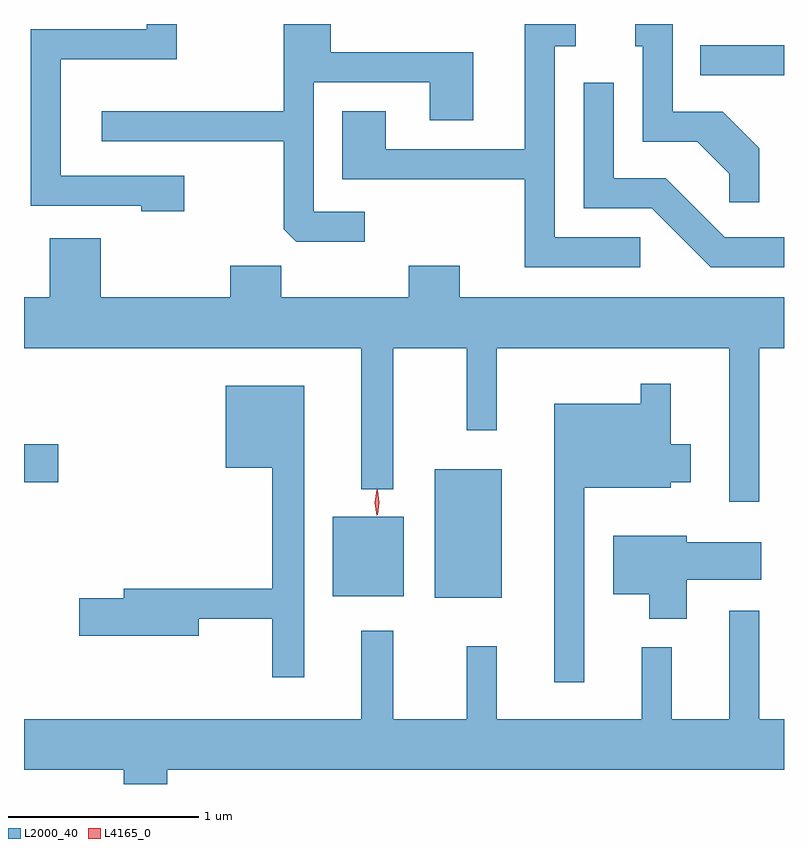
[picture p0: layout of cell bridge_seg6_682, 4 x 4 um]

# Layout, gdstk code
import gdstk
lib = gdstk.Library(unit=1e-6, precision=1e-09)
def R(c, l, rs):  # rectangles x0, y0, x1, y1
    for r in rs: c.add(gdstk.rectangle(r[:2], r[2:], *l))
def P(c, l, *ps):  # polygons
    for p in ps: c.add(gdstk.Polygon(p, *l))
L2000_40 = (2000, 40)
L4165_0 = (4165, 0)

bridge_seg6_682 = lib.new_cell('bridge_seg6_682')
R(bridge_seg6_682, L2000_40, [(240.076,1535.401,240.429,1536.079), (239.541,1535.411,239.914,1535.829), (237.915,1536.011,238.094,1536.209), (241.473,1538.151,241.915,1538.309)])
P(bridge_seg6_682, L2000_40, [(241.784,1537.767),(241.592,1537.959),(241.329,1537.959),(241.329,1538.422),(241.131,1538.422),(241.131,1538.306),(241.171,1538.306),(241.171,1537.801),(241.459,1537.801),(241.626,1537.634),(241.626,1537.483),(241.784,1537.483)],
  [(241.158,1537.299),(240.709,1537.299),(240.709,1538.306),(240.819,1538.306),(240.819,1538.422),(240.551,1538.422),(240.551,1537.764),(239.819,1537.764),(239.819,1537.964),(239.591,1537.964),(239.591,1537.606),(240.551,1537.606),(240.551,1537.141),(241.158,1537.141)],
  [(239.708,1537.434),(239.439,1537.434),(239.439,1538.116),(240.051,1538.116),(240.051,1537.916),(240.279,1537.916),(240.279,1538.274),(239.529,1538.274),(239.529,1538.422),(239.281,1538.422),(239.281,1537.964),(238.323,1537.964),(238.323,1537.806),(239.281,1537.806),(239.281,1537.342),(239.347,1537.276),(239.708,1537.276)],
  [(238.759,1537.624),(238.109,1537.624),(238.109,1538.236),(238.719,1538.236),(238.719,1538.422),(238.561,1538.422),(238.561,1538.394),(237.951,1538.394),(237.951,1537.466),(238.531,1537.466),(238.531,1537.436),(238.759,1537.436)],
  [(241.915,1537.299),(241.602,1537.299),(241.292,1537.609),(241.019,1537.609),(241.019,1538.113),(240.861,1538.113),(240.861,1537.451),(241.219,1537.451),(241.529,1537.141),(241.915,1537.141)],
  [(241.784,1536.716),(241.915,1536.716),(241.915,1536.984),(240.209,1536.984),(240.209,1537.149),(239.941,1537.149),(239.941,1536.984),(239.269,1536.984),(239.269,1537.149),(239.001,1537.149),(239.001,1536.984),(238.319,1536.984),(238.319,1537.294),(238.051,1537.294),(238.051,1536.984),(237.915,1536.984),(237.915,1536.716),(239.691,1536.716),(239.691,1535.973),(239.859,1535.973),(239.859,1536.716),(240.246,1536.716),(240.246,1536.283),(240.404,1536.283),(240.404,1536.716),(241.626,1536.716),(241.626,1535.908),(241.784,1535.908)],
  [(240.864,1535.981),(241.319,1535.981),(241.319,1536.011),(241.424,1536.011),(241.424,1536.209),(241.319,1536.209),(241.319,1536.528),(241.161,1536.528),(241.161,1536.424),(240.706,1536.424),(240.706,1534.958),(240.864,1534.958)],
  [(239.389,1536.519),(238.976,1536.519),(238.976,1536.086),(239.221,1536.086),(239.221,1535.449),(238.441,1535.449),(238.441,1535.399),(238.206,1535.399),(238.206,1535.201),(238.834,1535.201),(238.834,1535.291),(239.221,1535.291),(239.221,1534.983),(239.389,1534.983)],
  [(241.404,1535.496),(241.794,1535.496),(241.794,1535.694),(241.404,1535.694),(241.404,1535.729),(241.016,1535.729),(241.016,1535.421),(241.206,1535.421),(241.206,1535.291),(241.404,1535.291)],
  [(238.669,1534.496),(241.915,1534.496),(241.915,1534.764),(241.784,1534.764),(241.784,1535.333),(241.626,1535.333),(241.626,1534.764),(241.324,1534.764),(241.324,1535.143),(241.166,1535.143),(241.166,1534.764),(240.404,1534.764),(240.404,1535.148),(240.246,1535.148),(240.246,1534.764),(239.859,1534.764),(239.859,1535.228),(239.691,1535.228),(239.691,1534.764),(237.915,1534.764),(237.915,1534.496),(238.441,1534.496),(238.441,1534.422),(238.669,1534.422)])
P(bridge_seg6_682, L4165_0, [(239.775,1535.838),(239.775,1535.839),(239.765,1535.903),(239.775,1535.967),(239.775,1535.967),(239.776,1535.967),(239.785,1535.903),(239.776,1535.839)],
  [(239.771,1535.834),(239.771,1535.834),(239.762,1535.902),(239.772,1535.97),(239.773,1535.97),(239.773,1535.97),(239.782,1535.902),(239.772,1535.834)])

lib.write_gds('bridge_seg6_682.gds')
